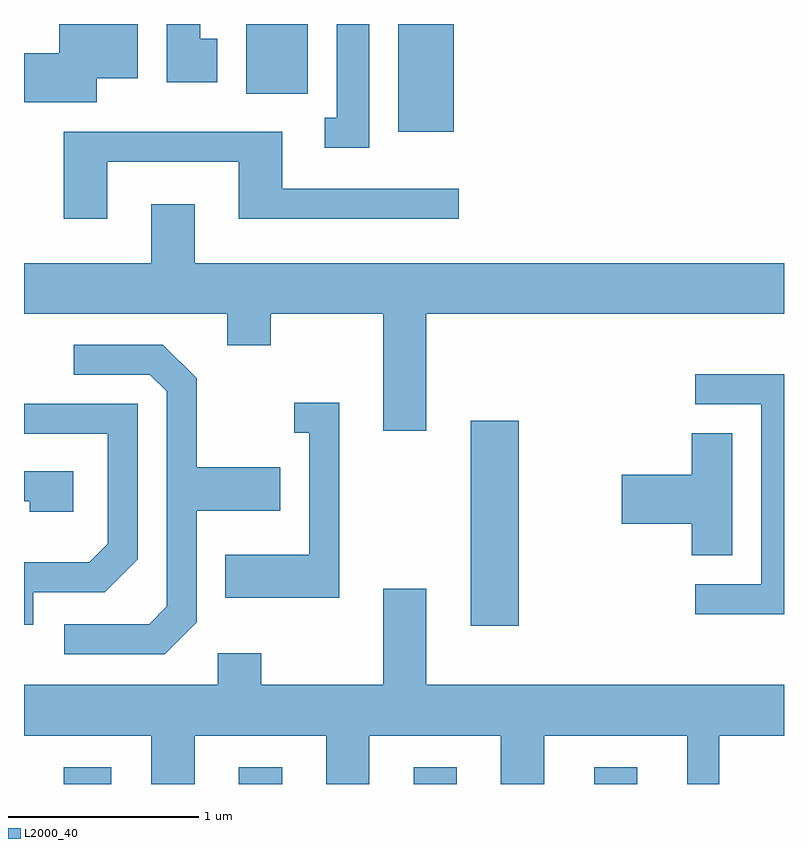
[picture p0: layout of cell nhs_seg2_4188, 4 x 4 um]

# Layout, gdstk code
import gdstk
lib = gdstk.Library(unit=1e-6, precision=1e-09)
def R(c, l, rs):  # rectangles x0, y0, x1, y1
    for r in rs: c.add(gdstk.rectangle(r[:2], r[2:], *l))
def P(c, l, *ps):  # polygons
    for p in ps: c.add(gdstk.Polygon(p, *l))
L2000_40 = (2000, 40)

nhs_seg2_4188 = lib.new_cell('nhs_seg2_4188')
R(nhs_seg2_4188, L2000_40, [(307.821,1085.802,308.069,1085.889), (308.741,1085.802,308.969,1085.889), (309.661,1085.802,309.889,1085.889), (310.611,1085.802,310.839,1085.889), (309.961,1086.636,310.214,1087.714), (309.581,1089.236,309.874,1089.802), (308.781,1089.436,309.104,1089.802)])
P(nhs_seg2_4188, L2000_40, [(307.994,1089.516),(308.209,1089.516),(308.209,1089.802),(307.796,1089.802),(307.796,1089.649),(307.611,1089.649),(307.611,1089.391),(307.994,1089.391)],
  [(309.429,1089.802),(309.256,1089.802),(309.256,1089.309),(309.193,1089.309),(309.193,1089.151),(309.429,1089.151)],
  [(308.629,1089.724),(308.539,1089.724),(308.539,1089.802),(308.361,1089.802),(308.361,1089.496),(308.629,1089.496)],
  [(308.049,1089.076),(308.741,1089.076),(308.741,1088.776),(309.898,1088.776),(309.898,1088.934),(308.969,1088.934),(308.969,1089.234),(307.821,1089.234),(307.821,1088.776),(308.049,1088.776)],
  [(309.729,1088.276),(311.611,1088.276),(311.611,1088.544),(308.509,1088.544),(308.509,1088.854),(308.281,1088.854),(308.281,1088.544),(307.611,1088.544),(307.611,1088.276),(308.681,1088.276),(308.681,1088.111),(308.909,1088.111),(308.909,1088.276),(309.501,1088.276),(309.501,1087.661),(309.729,1087.661)],
  [(308.519,1086.654),(308.519,1087.241),(308.959,1087.241),(308.959,1087.469),(308.519,1087.469),(308.519,1087.937),(308.342,1088.114),(307.873,1088.114),(307.873,1087.956),(308.274,1087.956),(308.361,1087.869),(308.361,1086.737),(308.269,1086.644),(307.823,1086.644),(307.823,1086.486),(308.352,1086.486)],
  [(311.611,1087.959),(311.143,1087.959),(311.143,1087.801),(311.491,1087.801),(311.491,1086.854),(311.143,1086.854),(311.143,1086.696),(311.611,1086.696)],
  [(309.269,1087.809),(309.033,1087.809),(309.033,1087.651),(309.111,1087.651),(309.111,1087.009),(308.671,1087.009),(308.671,1086.781),(309.269,1086.781)],
  [(307.659,1086.811),(308.037,1086.811),(308.209,1086.984),(308.209,1087.804),(307.611,1087.804),(307.611,1087.646),(308.051,1087.646),(308.051,1087.067),(307.954,1086.969),(307.611,1086.969),(307.611,1086.641),(307.659,1086.641)],
  [(311.339,1087.649),(311.126,1087.649),(311.126,1087.429),(310.756,1087.429),(310.756,1087.171),(311.126,1087.171),(311.126,1087.006),(311.339,1087.006)],
  [(307.869,1087.449),(307.611,1087.449),(307.611,1087.291),(307.641,1087.291),(307.641,1087.236),(307.869,1087.236)],
  [(308.509,1086.056),(309.201,1086.056),(309.201,1085.802),(309.429,1085.802),(309.429,1086.056),(310.121,1086.056),(310.121,1085.802),(310.349,1085.802),(310.349,1086.056),(311.101,1086.056),(311.101,1085.802),(311.269,1085.802),(311.269,1086.056),(311.611,1086.056),(311.611,1086.324),(309.729,1086.324),(309.729,1086.829),(309.501,1086.829),(309.501,1086.324),(308.859,1086.324),(308.859,1086.489),(308.631,1086.489),(308.631,1086.324),(307.611,1086.324),(307.611,1086.056),(308.281,1086.056),(308.281,1085.802),(308.509,1085.802)])

lib.write_gds('nhs_seg2_4188.gds')
